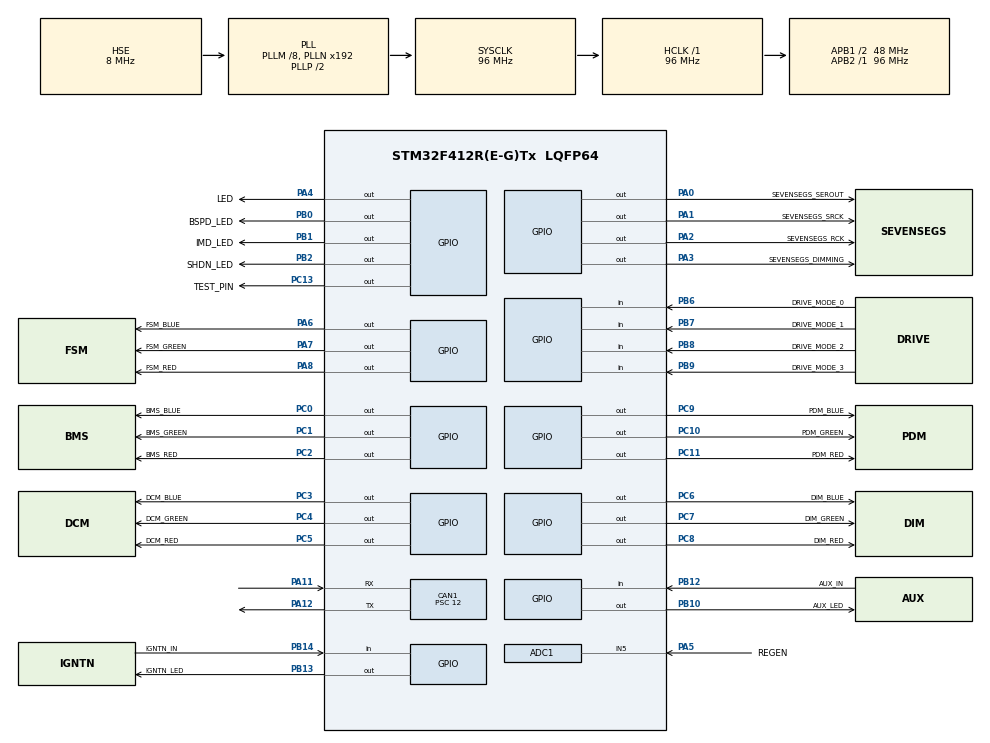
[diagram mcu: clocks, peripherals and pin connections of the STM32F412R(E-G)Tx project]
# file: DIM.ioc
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ADC1.Channel-0\#ChannelRegularConversion=ADC_CHANNEL_5
ADC1.NbrOfConversionFlag=1
ADC1.Rank-0\#ChannelRegularConversion=1
ADC1.SamplingTime-0\#ChannelRegularConversion=ADC_SAMPLETIME_3CYCLES
ADC1.master=1
CAN1.ABOM=ENABLE
CAN1.BS1=CAN_BS1_6TQ
CAN1.CalculateTimeQuantum=250.0
CAN1.NART=ENABLE
CAN1.Prescaler=12
CAN1.RFLM=ENABLE
CAN1.SJW=CAN_SJW_4TQ
CAN1.TXFP=ENABLE
Dma.ADC1.0.Direction=DMA_PERIPH_TO_MEMORY
Dma.ADC1.0.FIFOMode=DMA_FIFOMODE_DISABLE
Dma.ADC1.0.Instance=DMA2_Stream0
Dma.ADC1.0.MemDataAlignment=DMA_MDATAALIGN_HALFWORD
Dma.ADC1.0.MemInc=DMA_MINC_ENABLE
Dma.ADC1.0.Mode=DMA_NORMAL
Dma.ADC1.0.PeriphDataAlignment=DMA_PDATAALIGN_HALFWORD
Dma.ADC1.0.PeriphInc=DMA_PINC_DISABLE
Dma.ADC1.0.Priority=DMA_PRIORITY_LOW
Dma.Request0=ADC1
FREERTOS.INCLUDE_vTaskDelayUntil=1
FREERTOS.MEMORY_ALLOCATION=1
FREERTOS.Tasks01=Task100Hz,-1,512,RunTask100Hz,Default,NULL,Static,Task100HzBuffer,Task100HzControlBlock;TaskCanRx,-3,512,RunTaskCanRx,Default,NULL,Static,TaskCanRxBuffer,TaskCanRxControlBlock;TaskCanTx,-3,512,RunTaskCanTx,Default,NULL,Static,TaskCanTxBuffer,TaskCanTxControlBlock;Task1kHz,0,512,RunTask1kHz,Default,NULL,Static,Task1kHzBuffer,Task1kHzControlBlock;Task1Hz,-2,512,RunTask1Hz,Default,NULL,Static,Task1HzBuffer,Task1HzControlBlock
FREERTOS.configCHECK_FOR_STACK_OVERFLOW=2
FREERTOS.configRECORD_STACK_HIGH_ADDRESS=0
FREERTOS.configUSE_TASK_NOTIFICATIONS=1
FREERTOS.configUSE_TICK_HOOK=1
FREERTOS.configUSE_TRACE_FACILITY=1
IWDG.Reload=LSI_FREQUENCY /  IWDG_PRESCALER / IWDG_RESET_FREQUENCY
Mcu.Family=STM32F4
Mcu.Name=STM32F412R(E-G)Tx
Mcu.Package=LQFP64
Mcu.UserConstants=LSI_FREQUENCY,32000;IWDG_PRESCALER,4;IWDG_RESET_FREQUENCY,5
NVIC.CAN1_RX0_IRQn=true\:5\:0\:false\:false\:true\:true\:true\:true
NVIC.CAN1_RX1_IRQn=true\:5\:0\:false\:false\:true\:true\:true\:true
NVIC.DMA2_Stream0_IRQn=true\:5\:0\:false\:false\:true\:true\:false\:true
NVIC.PriorityGroup=NVIC_PRIORITYGROUP_4
NVIC.TIM6_IRQn=true\:0\:0\:false\:false\:true\:false\:false\:true
NVIC.TimeBase=TIM6_IRQn
NVIC.TimeBaseIP=TIM6
PA0.GPIO_Label=SEVENSEGS_SEROUT
PA0.GPIO_Speed=GPIO_SPEED_FREQ_VERY_HIGH
PA0.PinState=GPIO_PIN_RESET
PA0.Signal=GPIO_Output
PA1.GPIO_Label=SEVENSEGS_SRCK
PA1.GPIO_Speed=GPIO_SPEED_FREQ_VERY_HIGH
PA1.PinState=GPIO_PIN_RESET
PA1.Signal=GPIO_Output
PA11.Mode=Master
PA11.Signal=CAN1_RX
PA12.Mode=Master
PA12.Signal=CAN1_TX
PA13.Mode=Trace_Asynchronous_SW
PA13.Signal=SYS_JTMS-SWDIO
PA14.Mode=Trace_Asynchronous_SW
PA14.Signal=SYS_JTCK-SWCLK
PA2.GPIO_Label=SEVENSEGS_RCK
PA2.GPIO_Speed=GPIO_SPEED_FREQ_VERY_HIGH
PA2.PinState=GPIO_PIN_RESET
PA2.Signal=GPIO_Output
PA3.GPIO_Label=SEVENSEGS_DIMMING
PA3.GPIO_Speed=GPIO_SPEED_FREQ_LOW
PA3.PinState=GPIO_PIN_RESET
PA3.Signal=GPIO_Output
PA4.GPIO_Label=LED
PA4.Signal=GPIO_Output
PA5.GPIO_Label=REGEN
PA5.Signal=SharedAnalog_PA5
PA6.GPIO_Label=FSM_BLUE
PA6.Signal=GPIO_Output
PA7.GPIO_Label=FSM_GREEN
PA7.Signal=GPIO_Output
PA8.GPIO_Label=FSM_RED
PA8.Signal=GPIO_Output
PB0.GPIO_Label=BSPD_LED
PB0.Signal=GPIO_Output
PB1.GPIO_Label=IMD_LED
PB1.Signal=GPIO_Output
PB10.GPIO_Label=AUX_LED
PB10.Signal=GPIO_Output
PB12.GPIO_Label=AUX_IN
PB12.GPIO_PuPd=GPIO_PULLUP
PB12.Signal=GPIO_Input
PB13.GPIO_Label=IGNTN_LED
PB13.Signal=GPIO_Output
PB14.GPIO_Label=IGNTN_IN
PB14.GPIO_PuPd=GPIO_PULLUP
PB14.Signal=GPIO_Input
PB2.GPIO_Label=SHDN_LED
PB2.Signal=GPIO_Output
PB3.Mode=Trace_Asynchronous_SW
PB3.Signal=SYS_JTDO-SWO
PB6.GPIO_Label=DRIVE_MODE_0
PB6.Signal=GPIO_Input
PB7.GPIO_Label=DRIVE_MODE_1
PB7.Signal=GPIO_Input
PB8.GPIO_Label=DRIVE_MODE_2
PB8.Signal=GPIO_Input
PB9.GPIO_Label=DRIVE_MODE_3
PB9.Signal=GPIO_Input
PC0.GPIO_Label=BMS_BLUE
PC0.Signal=GPIO_Output
PC1.GPIO_Label=BMS_GREEN
PC1.Signal=GPIO_Output
PC10.GPIO_Label=PDM_GREEN
PC10.Signal=GPIO_Output
PC11.GPIO_Label=PDM_RED
PC11.Signal=GPIO_Output
PC13.GPIO_Label=TEST_PIN
PC13.PinState=GPIO_PIN_SET
PC13.Signal=GPIO_Output
PC2.GPIO_Label=BMS_RED
PC2.Signal=GPIO_Output
PC3.GPIO_Label=DCM_BLUE
PC3.Signal=GPIO_Output
PC4.GPIO_Label=DCM_GREEN
PC4.Signal=GPIO_Output
PC5.GPIO_Label=DCM_RED
PC5.Signal=GPIO_Output
PC6.GPIO_Label=DIM_BLUE
PC6.Signal=GPIO_Output
PC7.GPIO_Label=DIM_GREEN
PC7.Signal=GPIO_Output
PC8.GPIO_Label=DIM_RED
PC8.Signal=GPIO_Output
PC9.GPIO_Label=PDM_BLUE
PC9.Signal=GPIO_Output
PH0\ -\ OSC_IN.Mode=HSE-External-Oscillator
PH0\ -\ OSC_IN.Signal=RCC_OSC_IN
PH1\ -\ OSC_OUT.Mode=HSE-External-Oscillator
PH1\ -\ OSC_OUT.Signal=RCC_OSC_OUT
ProjectManager.HeapSize=0X00
ProjectManager.StackSize=0x400
ProjectManager.TargetToolchain=SW4STM32
RCC.AHBFreq_Value=96000000
RCC.APB1CLKDivider=RCC_HCLK_DIV2
RCC.APB1Freq_Value=48000000
RCC.APB1TimFreq_Value=96000000
RCC.APB2Freq_Value=96000000
RCC.APB2TimFreq_Value=96000000
RCC.CortexFreq_Value=96000000
RCC.HCLKFreq_Value=96000000
RCC.HSE_VALUE=8000000
RCC.PLLM=8
RCC.PLLSourceVirtual=RCC_PLLSOURCE_HSE
RCC.SYSCLKFreq_VALUE=96000000
RCC.SYSCLKSource=RCC_SYSCLKSOURCE_PLLCLK
RCC.USBFreq_Value=96000000
RCC.VCOOutputFreq_Value=192000000
SH.SharedAnalog_PA5.0=GPIO_Analog
SH.SharedAnalog_PA5.1=ADC1_IN5,IN5
VP_FREERTOS_VS_CMSIS_V1.Mode=CMSIS_V1
VP_IWDG_VS_IWDG.Mode=IWDG_Activate
VP_SYS_VS_tim6.Mode=TIM6
board=custom

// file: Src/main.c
/* USER CODE BEGIN Header */
/**
 ******************************************************************************
 * @file           : main.c
 * @brief          : Main program body
 ******************************************************************************
 * @attention
 *
 * <h2><center>&copy; Copyright (c) 2020 STMicroelectronics.
 * All rights reserved.</center></h2>
 *
 * This software component is licensed by ST under BSD 3-Clause license,
 * the "License"; You may not use this file except in compliance with the
 * License. You may obtain a copy of the License at:
 *                        opensource.org/licenses/BSD-3-Clause
 *
 ******************************************************************************
 */
/* USER CODE END Header */

#include "main.h"
#include "cmsis_os.h"

/* USER CODE BEGIN Includes */
#include <assert.h>

#include "App_DimWorld.h"
#include "App_SharedMacros.h"
#include "App_SevenSegDisplay.h"
#include "App_SharedStateMachine.h"
#include "states/App_DriveState.h"
#include "configs/App_RotarySwitchConfig.h"
#include "configs/App_HeartbeatMonitorConfig.h"
#include "App_CanAlerts.h"
#include "app_globals.h"

#include "Io_CanTx.h"
#include "Io_CanRx.h"
#include "Io_SoftwareWatchdog.h"
#include "Io_StackWaterMark.h"
#include "Io_SevenSegDisplays.h"
#include "Io_SharedCan.h"
#include "Io_SharedErrorHandlerOverride.h"
#include "Io_SharedHardFaultHandler.h"
#include "Io_SharedHeartbeatMonitor.h"
#include "Io_RgbLedSequence.h"
#include "Io_DriveModeSwitch.h"
#include "Io_Leds.h"
#include "Io_Switches.h"
#include "Io_Adc.h"
#include "Io_RgbLeds.h"

#include "dev_led.h"

#include "hw_gpio.h"
/* USER CODE END Includes */

ADC_HandleTypeDef hadc1;
DMA_HandleTypeDef hdma_adc1;

CAN_HandleTypeDef hcan1;

IWDG_HandleTypeDef hiwdg;

osThreadId          Task100HzHandle;
uint32_t            Task100HzBuffer[512];
osStaticThreadDef_t Task100HzControlBlock;
osThreadId          TaskCanRxHandle;
uint32_t            TaskCanRxBuffer[512];
osStaticThreadDef_t TaskCanRxControlBlock;
osThreadId          TaskCanTxHandle;
uint32_t            TaskCanTxBuffer[512];
osStaticThreadDef_t TaskCanTxControlBlock;
osThreadId          Task1kHzHandle;
uint32_t            Task1kHzBuffer[512];
osStaticThreadDef_t Task1kHzControlBlock;
osThreadId          Task1HzHandle;
uint32_t            Task1HzBuffer[512];
osStaticThreadDef_t Task1HzControlBlock;
/* USER CODE BEGIN PV */
struct DimWorld *         world;
struct StateMachine *     state_machine;
struct DimCanTxInterface *can_tx;
struct DimCanRxInterface *can_rx;
struct SevenSegDisplay *  left_l_seven_seg_display;
struct SevenSegDisplay *  left_m_seven_seg_display;
struct SevenSegDisplay *  left_r_seven_seg_display;
struct SevenSegDisplay *  middle_l_seven_seg_display;
struct SevenSegDisplay *  middle_m_seven_seg_display;
struct SevenSegDisplay *  middle_r_seven_seg_display;
struct SevenSegDisplay *  right_l_seven_seg_display;
struct SevenSegDisplay *  right_m_seven_seg_display;
struct SevenSegDisplay *  right_r_seven_seg_display;
struct SevenSegDisplays * seven_seg_displays;
struct HeartbeatMonitor * heartbeat_monitor;
struct RgbLedSequence *   rgb_led_sequence;
struct RotarySwitch *     drive_mode_switch;
struct BinarySwitch *     start_switch;
struct BinarySwitch *     aux_switch;
struct RgbLed *           bms_status_led;
struct RgbLed *           dcm_status_led;
struct RgbLed *           dim_status_led;
struct RgbLed *           fsm_status_led;
struct RgbLed *           pdm_status_led;
struct Clock *            clock;
struct AvgPowerCalc *     avg_power_calc;

static const BinaryLed imd_led   = { .gpio = {
                                       .port = IMD_LED_GPIO_Port,
                                       .pin  = IMD_LED_Pin,
                                   } };
static const BinaryLed bspd_led  = { .gpio = {
                                        .port = BSPD_LED_GPIO_Port,
                                        .pin  = BSPD_LED_Pin,
                                    } };
static const BinaryLed shdn_led  = { .gpio = {
                                        .port = SHDN_LED_GPIO_Port,
                                        .pin  = SHDN_LED_Pin,
                                    } };
static const BinaryLed drive_led = { .gpio = {
                                         .port = IGNTN_LED_GPIO_Port,
                                         .pin  = IGNTN_LED_Pin,
                                     } };

static const GlobalsConfig globals_config = {
    .imd_led   = &imd_led,
    .bspd_led  = &bspd_led,
    .shdn_led  = &shdn_led,
    .drive_led = &drive_led,
};

/* USER CODE END PV */

void        SystemClock_Config(void);
static void MX_GPIO_Init(void);
static void MX_DMA_Init(void);
static void MX_ADC1_Init(void);
static void MX_CAN1_Init(void);
static void MX_IWDG_Init(void);
void        RunTask100Hz(void const *argument);
void        RunTaskCanRx(void const *argument);
void        RunTaskCanTx(void const *argument);
void        RunTask1kHz(void const *argument);
void        RunTask1Hz(void const *argument);

/* USER CODE BEGIN 0 */
static void CanRxQueueOverflowCallBack(size_t overflow_count)
{
    App_CanTx_DIM_AlertsContext_RxOverflowCount_Set(overflow_count);
    App_CanAlerts_SetWarning(DIM_WARNING_RX_OVERFLOW, true);
}

static void CanTxQueueOverflowCallBack(size_t overflow_count)
{
    App_CanTx_DIM_AlertsContext_TxOverflowCount_Set(overflow_count);
    App_CanAlerts_SetWarning(DIM_WARNING_TX_OVERFLOW, true);
}
/* USER CODE END 0 */

int main(void)
{

    /* MCU Configuration--------------------------------------------------------*/

    /* Reset of all peripherals, Initializes the Flash interface and the Systick. */
    HAL_Init();

    /* Configure the system clock */
    SystemClock_Config();

    /* Initialize all configured peripherals */
    MX_GPIO_Init();
    MX_DMA_Init();
    MX_ADC1_Init();
    MX_CAN1_Init();
    MX_IWDG_Init();
    /* USER CODE BEGIN 2 */
    __HAL_DBGMCU_FREEZE_IWDG();

    HAL_ADC_Start_DMA(&hadc1, (uint32_t *)Io_Adc_GetRawAdcValues(), hadc1.Init.NbrOfConversion);
    //    HAL_TIM_Base_Start(&htim2); // TODO: May need to enable this for DMA for ADC

    Io_SharedHardFaultHandler_Init();
    Io_SharedSoftwareWatchdog_Init(Io_HardwareWatchdog_Refresh, Io_SoftwareWatchdog_TimeoutCallback);
    Io_SharedCan_Init(&hcan1, CanTxQueueOverflowCallBack, CanRxQueueOverflowCallBack);
    Io_CanTx_EnableMode(CAN_MODE_DEFAULT, true);
    Io_SevenSegDisplays_Init();

    App_CanTx_Init();
    App_CanRx_Init();

    left_l_seven_seg_display   = App_SevenSegDisplay_Create(Io_SevenSegDisplays_SetHexDigit);
    left_m_seven_seg_display   = App_SevenSegDisplay_Create(Io_SevenSegDisplays_SetHexDigit);
    left_r_seven_seg_display   = App_SevenSegDisplay_Create(Io_SevenSegDisplays_SetHexDigit);
    middle_l_seven_seg_display = App_SevenSegDisplay_Create(Io_SevenSegDisplays_SetHexDigit);
    middle_m_seven_seg_display = App_SevenSegDisplay_Create(Io_SevenSegDisplays_SetHexDigit);
    middle_r_seven_seg_display = App_SevenSegDisplay_Create(Io_SevenSegDisplays_SetHexDigit);
    right_l_seven_seg_display  = App_SevenSegDisplay_Create(Io_SevenSegDisplays_SetHexDigit);
    right_m_seven_seg_display  = App_SevenSegDisplay_Create(Io_SevenSegDisplays_SetHexDigit);
    right_r_seven_seg_display  = App_SevenSegDisplay_Create(Io_SevenSegDisplays_SetHexDigit);

    seven_seg_displays = App_SevenSegDisplays_Create(
        left_l_seven_seg_display, left_m_seven_seg_display, left_r_seven_seg_display, middle_l_seven_seg_display,
        middle_m_seven_seg_display, middle_r_seven_seg_display, right_l_seven_seg_display, right_m_seven_seg_display,
        right_r_seven_seg_display, Io_SevenSegDisplays_WriteCommands);

    heartbeat_monitor = App_SharedHeartbeatMonitor_Create(
        Io_SharedHeartbeatMonitor_GetCurrentMs, HEARTBEAT_MONITOR_TIMEOUT_PERIOD_MS, HEARTBEAT_MONITOR_BOARDS_TO_CHECK);

    rgb_led_sequence = App_SharedRgbLedSequence_Create(
        Io_RgbLedSequence_TurnOnRedLed, Io_RgbLedSequence_TurnOnBlueLed, Io_RgbLedSequence_TurnOnGreenLed);

    drive_mode_switch = App_RotarySwitch_Create(Io_DriveModeSwitch_GetPosition, NUM_DRIVE_MODE_SWITCH_POSITIONS);

    start_switch = App_BinarySwitch_Create(Io_Switches_StartSwitchIsTurnedOn);

    aux_switch = App_BinarySwitch_Create(Io_Switches_AuxSwitchIsTurnedOn);

    bms_status_led = App_SharedRgbLed_Create(
        Io_RgbLeds_TurnBmsStatusLedRed, Io_RgbLeds_TurnBmsStatusLedGreen, Io_RgbLeds_TurnBmsStatusLedBlue,
        Io_RgbLeds_TurnOffBmsStatusLed);

    dcm_status_led = App_SharedRgbLed_Create(
        Io_RgbLeds_TurnDcmStatusLedRed, Io_RgbLeds_TurnDcmStatusLedGreen, Io_RgbLeds_TurnDcmStatusLedBlue,
        Io_RgbLeds_TurnOffDcmStatusLed);

    dim_status_led = App_SharedRgbLed_Create(
        Io_RgbLeds_TurnDimStatusLedRed, Io_RgbLeds_TurnDimStatusLedGreen, Io_RgbLeds_TurnDimStatusLedBlue,
        Io_RgbLeds_TurnOffDimStatusLed);

    fsm_status_led = App_SharedRgbLed_Create(
        Io_RgbLeds_TurnFsmStatusLedRed, Io_RgbLeds_TurnFsmStatusLedGreen, Io_RgbLeds_TurnFsmStatusLedBlue,
        Io_RgbLeds_TurnOffFsmStatusLed);

    pdm_status_led = App_SharedRgbLed_Create(
        Io_RgbLeds_TurnPdmStatusLedRed, Io_RgbLeds_TurnPdmStatusLedGreen, Io_RgbLeds_TurnPdmStatusLedBlue,
        Io_RgbLeds_TurnOffPdmStatusLed);

    clock = App_SharedClock_Create();

    avg_power_calc = App_AvgPowerCalc_Create();

    world = App_DimWorld_Create(
        seven_seg_displays, heartbeat_monitor, rgb_led_sequence, drive_mode_switch, start_switch, aux_switch,
        bms_status_led, dcm_status_led, dim_status_led, fsm_status_led, pdm_status_led, clock, avg_power_calc);

    state_machine = App_SharedStateMachine_Create(world, App_GetDriveState());

    app_globals_init(&globals_config);
    /* USER CODE END 2 */

    /* Create the thread(s) */
    /* definition and creation of Task100Hz */
    osThreadStaticDef(Task100Hz, RunTask100Hz, osPriorityBelowNormal, 0, 512, Task100HzBuffer, &Task100HzControlBlock);
    Task100HzHandle = osThreadCreate(osThread(Task100Hz), NULL);

    /* definition and creation of TaskCanRx */
    osThreadStaticDef(TaskCanRx, RunTaskCanRx, osPriorityIdle, 0, 512, TaskCanRxBuffer, &TaskCanRxControlBlock);
    TaskCanRxHandle = osThreadCreate(osThread(TaskCanRx), NULL);

    /* definition and creation of TaskCanTx */
    osThreadStaticDef(TaskCanTx, RunTaskCanTx, osPriorityIdle, 0, 512, TaskCanTxBuffer, &TaskCanTxControlBlock);
    TaskCanTxHandle = osThreadCreate(osThread(TaskCanTx), NULL);

    /* definition and creation of Task1kHz */
    osThreadStaticDef(Task1kHz, RunTask1kHz, osPriorityNormal, 0, 512, Task1kHzBuffer, &Task1kHzControlBlock);
    Task1kHzHandle = osThreadCreate(osThread(Task1kHz), NULL);

    /* definition and creation of Task1Hz */
    osThreadStaticDef(Task1Hz, RunTask1Hz, osPriorityLow, 0, 512, Task1HzBuffer, &Task1HzControlBlock);
    Task1HzHandle = osThreadCreate(osThread(Task1Hz), NULL);

    /* USER CODE BEGIN RTOS_THREADS */
    // According to Percpio documentation, vTraceEnable() should be the last
    // function call before the scheduler starts.
#if (configUSE_TRACE_FACILITY == 1)
    vTraceEnable(TRC_INIT);
#endif
    /* USER CODE END RTOS_THREADS */

    /* Start scheduler */
    osKernelStart();

    /* We should never get here as control is now taken by the scheduler */

    /* Infinite loop */
    while (1)
    {

    }
}

void SystemClock_Config(void)
{
    RCC_OscInitTypeDef RCC_OscInitStruct = { 0 };
    RCC_ClkInitTypeDef RCC_ClkInitStruct = { 0 };

    /** Configure the main internal regulator output voltage
     */
    __HAL_RCC_PWR_CLK_ENABLE();
    __HAL_PWR_VOLTAGESCALING_CONFIG(PWR_REGULATOR_VOLTAGE_SCALE1);
    /** Initializes the CPU, AHB and APB busses clocks
     */
    RCC_OscInitStruct.OscillatorType = RCC_OSCILLATORTYPE_LSI | RCC_OSCILLATORTYPE_HSE;
    RCC_OscInitStruct.HSEState       = RCC_HSE_ON;
    RCC_OscInitStruct.LSIState       = RCC_LSI_ON;
    RCC_OscInitStruct.PLL.PLLState   = RCC_PLL_ON;
    RCC_OscInitStruct.PLL.PLLSource  = RCC_PLLSOURCE_HSE;
    RCC_OscInitStruct.PLL.PLLM       = 8;
    RCC_OscInitStruct.PLL.PLLN       = 192;
    RCC_OscInitStruct.PLL.PLLP       = RCC_PLLP_DIV2;
    RCC_OscInitStruct.PLL.PLLQ       = 2;
    RCC_OscInitStruct.PLL.PLLR       = 2;
    if (HAL_RCC_OscConfig(&RCC_OscInitStruct) != HAL_OK)
    {
        Error_Handler();
    }
    /** Initializes the CPU, AHB and APB busses clocks
     */
    RCC_ClkInitStruct.ClockType = RCC_CLOCKTYPE_HCLK | RCC_CLOCKTYPE_SYSCLK | RCC_CLOCKTYPE_PCLK1 | RCC_CLOCKTYPE_PCLK2;
    RCC_ClkInitStruct.SYSCLKSource   = RCC_SYSCLKSOURCE_PLLCLK;
    RCC_ClkInitStruct.AHBCLKDivider  = RCC_SYSCLK_DIV1;
    RCC_ClkInitStruct.APB1CLKDivider = RCC_HCLK_DIV2;
    RCC_ClkInitStruct.APB2CLKDivider = RCC_HCLK_DIV1;

    if (HAL_RCC_ClockConfig(&RCC_ClkInitStruct, FLASH_LATENCY_3) != HAL_OK)
    {
        Error_Handler();
    }
}

static void MX_ADC1_Init(void)
{

    ADC_ChannelConfTypeDef sConfig = { 0 };

    /** Configure the global features of the ADC (Clock, Resolution, Data Alignment and number of conversion)
     */
    hadc1.Instance                   = ADC1;
    hadc1.Init.ClockPrescaler        = ADC_CLOCK_SYNC_PCLK_DIV4;
    hadc1.Init.Resolution            = ADC_RESOLUTION_12B;
    hadc1.Init.ScanConvMode          = DISABLE;
    hadc1.Init.ContinuousConvMode    = DISABLE;
    hadc1.Init.DiscontinuousConvMode = DISABLE;
    hadc1.Init.ExternalTrigConvEdge  = ADC_EXTERNALTRIGCONVEDGE_NONE;
    hadc1.Init.ExternalTrigConv      = ADC_SOFTWARE_START;
    hadc1.Init.DataAlign             = ADC_DATAALIGN_RIGHT;
    hadc1.Init.NbrOfConversion       = 1;
    hadc1.Init.DMAContinuousRequests = DISABLE;
    hadc1.Init.EOCSelection          = ADC_EOC_SINGLE_CONV;
    if (HAL_ADC_Init(&hadc1) != HAL_OK)
    {
        Error_Handler();
    }
    /** Configure for the selected ADC regular channel its corresponding rank in the sequencer and its sample time.
     */
    sConfig.Channel      = ADC_CHANNEL_5;
    sConfig.Rank         = 1;
    sConfig.SamplingTime = ADC_SAMPLETIME_3CYCLES;
    if (HAL_ADC_ConfigChannel(&hadc1, &sConfig) != HAL_OK)
    {
        Error_Handler();
    }
}

static void MX_CAN1_Init(void)
{

    hcan1.Instance                  = CAN1;
    hcan1.Init.Prescaler            = 12;
    hcan1.Init.Mode                 = CAN_MODE_NORMAL;
    hcan1.Init.SyncJumpWidth        = CAN_SJW_4TQ;
    hcan1.Init.TimeSeg1             = CAN_BS1_6TQ;
    hcan1.Init.TimeSeg2             = CAN_BS2_1TQ;
    hcan1.Init.TimeTriggeredMode    = DISABLE;
    hcan1.Init.AutoBusOff           = ENABLE;
    hcan1.Init.AutoWakeUp           = DISABLE;
    hcan1.Init.AutoRetransmission   = ENABLE;
    hcan1.Init.ReceiveFifoLocked    = ENABLE;
    hcan1.Init.TransmitFifoPriority = ENABLE;
    if (HAL_CAN_Init(&hcan1) != HAL_OK)
    {
        Error_Handler();
    }
}

static void MX_IWDG_Init(void)
{

    hiwdg.Instance       = IWDG;
    hiwdg.Init.Prescaler = IWDG_PRESCALER_4;
    hiwdg.Init.Reload    = LSI_FREQUENCY / IWDG_PRESCALER / IWDG_RESET_FREQUENCY;
    if (HAL_IWDG_Init(&hiwdg) != HAL_OK)
    {
        Error_Handler();
    }
}

static void MX_DMA_Init(void)
{
    /* DMA controller clock enable */
    __HAL_RCC_DMA2_CLK_ENABLE();

    /* DMA interrupt init */
    /* DMA2_Stream0_IRQn interrupt configuration */
    HAL_NVIC_SetPriority(DMA2_Stream0_IRQn, 5, 0);
    HAL_NVIC_EnableIRQ(DMA2_Stream0_IRQn);
}

static void MX_GPIO_Init(void)
{
    GPIO_InitTypeDef GPIO_InitStruct = { 0 };

    /* GPIO Ports Clock Enable */
    __HAL_RCC_GPIOC_CLK_ENABLE();
    __HAL_RCC_GPIOH_CLK_ENABLE();
    __HAL_RCC_GPIOA_CLK_ENABLE();
    __HAL_RCC_GPIOB_CLK_ENABLE();

    /*Configure GPIO pin Output Level */
    HAL_GPIO_WritePin(TEST_PIN_GPIO_Port, TEST_PIN_Pin, GPIO_PIN_SET);

    /*Configure GPIO pin Output Level */
    HAL_GPIO_WritePin(
        GPIOC,
        BMS_BLUE_Pin | BMS_GREEN_Pin | BMS_RED_Pin | DCM_BLUE_Pin | DCM_GREEN_Pin | DCM_RED_Pin | DIM_BLUE_Pin |
            DIM_GREEN_Pin | DIM_RED_Pin | PDM_BLUE_Pin | PDM_GREEN_Pin | PDM_RED_Pin,
        GPIO_PIN_RESET);

    /*Configure GPIO pin Output Level */
    HAL_GPIO_WritePin(
        GPIOA,
        SEVENSEGS_SEROUT_Pin | SEVENSEGS_SRCK_Pin | SEVENSEGS_RCK_Pin | SEVENSEGS_DIMMING_Pin | LED_Pin | FSM_BLUE_Pin |
            FSM_GREEN_Pin | FSM_RED_Pin,
        GPIO_PIN_RESET);

    /*Configure GPIO pin Output Level */
    HAL_GPIO_WritePin(GPIOB, BSPD_LED_Pin | IMD_LED_Pin | SHDN_LED_Pin | AUX_LED_Pin | IGNTN_LED_Pin, GPIO_PIN_RESET);

    /*Configure GPIO pins : TEST_PIN_Pin BMS_BLUE_Pin BMS_GREEN_Pin BMS_RED_Pin
                             DCM_BLUE_Pin DCM_GREEN_Pin DCM_RED_Pin DIM_BLUE_Pin
                             DIM_GREEN_Pin DIM_RED_Pin PDM_BLUE_Pin PDM_GREEN_Pin
                             PDM_RED_Pin */
    GPIO_InitStruct.Pin = TEST_PIN_Pin | BMS_BLUE_Pin | BMS_GREEN_Pin | BMS_RED_Pin | DCM_BLUE_Pin | DCM_GREEN_Pin |
                          DCM_RED_Pin | DIM_BLUE_Pin | DIM_GREEN_Pin | DIM_RED_Pin | PDM_BLUE_Pin | PDM_GREEN_Pin |
                          PDM_RED_Pin;
    GPIO_InitStruct.Mode  = GPIO_MODE_OUTPUT_PP;
    GPIO_InitStruct.Pull  = GPIO_NOPULL;
    GPIO_InitStruct.Speed = GPIO_SPEED_FREQ_LOW;
    HAL_GPIO_Init(GPIOC, &GPIO_InitStruct);

    /*Configure GPIO pins : SEVENSEGS_SEROUT_Pin SEVENSEGS_SRCK_Pin SEVENSEGS_RCK_Pin */
    GPIO_InitStruct.Pin   = SEVENSEGS_SEROUT_Pin | SEVENSEGS_SRCK_Pin | SEVENSEGS_RCK_Pin;
    GPIO_InitStruct.Mode  = GPIO_MODE_OUTPUT_PP;
    GPIO_InitStruct.Pull  = GPIO_NOPULL;
    GPIO_InitStruct.Speed = GPIO_SPEED_FREQ_VERY_HIGH;
    HAL_GPIO_Init(GPIOA, &GPIO_InitStruct);

    /*Configure GPIO pins : SEVENSEGS_DIMMING_Pin LED_Pin FSM_BLUE_Pin FSM_GREEN_Pin
                             FSM_RED_Pin */
    GPIO_InitStruct.Pin   = SEVENSEGS_DIMMING_Pin | LED_Pin | FSM_BLUE_Pin | FSM_GREEN_Pin | FSM_RED_Pin;
    GPIO_InitStruct.Mode  = GPIO_MODE_OUTPUT_PP;
    GPIO_InitStruct.Pull  = GPIO_NOPULL;
    GPIO_InitStruct.Speed = GPIO_SPEED_FREQ_LOW;
    HAL_GPIO_Init(GPIOA, &GPIO_InitStruct);

    /*Configure GPIO pin : REGEN_Pin */
    GPIO_InitStruct.Pin  = REGEN_Pin;
    GPIO_InitStruct.Mode = GPIO_MODE_ANALOG;
    GPIO_InitStruct.Pull = GPIO_NOPULL;
    HAL_GPIO_Init(REGEN_GPIO_Port, &GPIO_InitStruct);

    /*Configure GPIO pins : BSPD_LED_Pin IMD_LED_Pin SHDN_LED_Pin AUX_LED_Pin
                             IGNTN_LED_Pin */
    GPIO_InitStruct.Pin   = BSPD_LED_Pin | IMD_LED_Pin | SHDN_LED_Pin | AUX_LED_Pin | IGNTN_LED_Pin;
    GPIO_InitStruct.Mode  = GPIO_MODE_OUTPUT_PP;
    GPIO_InitStruct.Pull  = GPIO_NOPULL;
    GPIO_InitStruct.Speed = GPIO_SPEED_FREQ_LOW;
    HAL_GPIO_Init(GPIOB, &GPIO_InitStruct);

    /*Configure GPIO pins : AUX_IN_Pin IGNTN_IN_Pin */
    GPIO_InitStruct.Pin  = AUX_IN_Pin | IGNTN_IN_Pin;
    GPIO_InitStruct.Mode = GPIO_MODE_INPUT;
    GPIO_InitStruct.Pull = GPIO_PULLUP;
    HAL_GPIO_Init(GPIOB, &GPIO_InitStruct);

    /*Configure GPIO pins : DRIVE_MODE_0_Pin DRIVE_MODE_1_Pin DRIVE_MODE_2_Pin DRIVE_MODE_3_Pin */
    GPIO_InitStruct.Pin  = DRIVE_MODE_0_Pin | DRIVE_MODE_1_Pin | DRIVE_MODE_2_Pin | DRIVE_MODE_3_Pin;
    GPIO_InitStruct.Mode = GPIO_MODE_INPUT;
    GPIO_InitStruct.Pull = GPIO_NOPULL;
    HAL_GPIO_Init(GPIOB, &GPIO_InitStruct);
}

void RunTask100Hz(void const *argument)
{
    /* USER CODE BEGIN 5 */
    UNUSED(argument);
    uint32_t                 PreviousWakeTime = osKernelSysTick();
    static const TickType_t  period_ms        = 10;
    SoftwareWatchdogHandle_t watchdog         = Io_SharedSoftwareWatchdog_AllocateWatchdog();
    Io_SharedSoftwareWatchdog_InitWatchdog(watchdog, RTOS_TASK_100HZ, period_ms);

    /* Infinite loop */
    for (;;)
    {
        App_SharedStateMachine_Tick100Hz(state_machine);
        Io_CanTx_Enqueue100HzMsgs();

        // Watchdog check-in must be the last function called before putting the
        // task to sleep.
        Io_SharedSoftwareWatchdog_CheckInWatchdog(watchdog);
        osDelayUntil(&PreviousWakeTime, period_ms);
    }
    /* USER CODE END 5 */
}

void RunTaskCanRx(void const *argument)
{
    /* USER CODE BEGIN RunTaskCanRx */
    UNUSED(argument);

    /* Infinite loop */
    for (;;)
    {
        struct CanMsg message;
        Io_SharedCan_DequeueCanRxMessage(&message);
        Io_CanRx_UpdateRxTableWithMessage(&message);
    }
    /* USER CODE END RunTaskCanRx */
}

void RunTaskCanTx(void const *argument)
{
    /* USER CODE BEGIN RunTaskCanTx */
    UNUSED(argument);

    /* Infinite loop */
    for (;;)
    {
        Io_SharedCan_TransmitEnqueuedCanTxMessagesFromTask();
    }
    /* USER CODE END RunTaskCanTx */
}

void RunTask1kHz(void const *argument)
{
    /* USER CODE BEGIN RunTask1kHz */
    UNUSED(argument);
    uint32_t                 PreviousWakeTime = osKernelSysTick();
    static const TickType_t  period_ms        = 1;
    SoftwareWatchdogHandle_t watchdog         = Io_SharedSoftwareWatchdog_AllocateWatchdog();
    Io_SharedSoftwareWatchdog_InitWatchdog(watchdog, RTOS_TASK_1KHZ, period_ms);

    /* Infinite loop */
    for (;;)
    {
        // Check in for timeouts for all RTOS tasks
        Io_SharedSoftwareWatchdog_CheckForTimeouts();
        const uint32_t task_start_ms = TICK_TO_MS(osKernelSysTick());

        App_SharedClock_SetCurrentTimeInMilliseconds(clock, task_start_ms);
        Io_CanTx_EnqueueOtherPeriodicMsgs(task_start_ms);

        // Watchdog check-in must be the last function called before putting the
        // task to sleep. Prevent check in if the elapsed period is greater or
        // equal to the period ms
        if ((TICK_TO_MS(osKernelSysTick()) - task_start_ms) <= period_ms)
        {
            Io_SharedSoftwareWatchdog_CheckInWatchdog(watchdog);
        }

        osDelayUntil(&PreviousWakeTime, period_ms);
    }
    /* USER CODE END RunTask1kHz */
}

void RunTask1Hz(void const *argument)
{
    /* USER CODE BEGIN RunTask1Hz */
    UNUSED(argument);
    uint32_t                 PreviousWakeTime = osKernelSysTick();
    static const TickType_t  period_ms        = 1000U;
    SoftwareWatchdogHandle_t watchdog         = Io_SharedSoftwareWatchdog_AllocateWatchdog();
    Io_SharedSoftwareWatchdog_InitWatchdog(watchdog, RTOS_TASK_1HZ, period_ms);

    /* Infinite loop */
    for (;;)
    {
        Io_StackWaterMark_Check();
        App_SharedStateMachine_Tick1Hz(state_machine);

        const bool debug_mode_enabled = App_CanRx_Debug_CanModes_EnableDebugMode_Get();
        Io_CanTx_EnableMode(CAN_MODE_DEBUG, debug_mode_enabled);
        Io_CanTx_Enqueue1HzMsgs();

        // Watchdog check-in must be the last function called before putting the
        // task to sleep.
        Io_SharedSoftwareWatchdog_CheckInWatchdog(watchdog);
        osDelayUntil(&PreviousWakeTime, period_ms);
    }
    /* USER CODE END RunTask1Hz */
}

void HAL_TIM_PeriodElapsedCallback(TIM_HandleTypeDef *htim)
{
    if (htim->Instance == TIM6)
    {
        HAL_IncTick();
    }
}

void Error_Handler(void)
{
    /* USER CODE BEGIN Error_Handler_Debug */
    __assert_func(__FILE__, __LINE__, "Error_Handler", "Error_Handler");
    /* USER CODE END Error_Handler_Debug */
}

#ifdef USE_FULL_ASSERT
/**
 * @brief  Reports the name of the source file and the source line number
 *         where the assert_param error has occurred.
 * @param  file: pointer to the source file name
 * @param  line: assert_param error line source number
 * @retval None
 */
void assert_failed(uint8_t *file, uint32_t line)
{
    /* USER CODE BEGIN 6 */
    __assert_func(file, line, "assert_failed", "assert_failed");
    /* USER CODE END 6 */
}
#endif /* USE_FULL_ASSERT */

/************************ (C) COPYRIGHT STMicroelectronics *****END OF FILE****/
